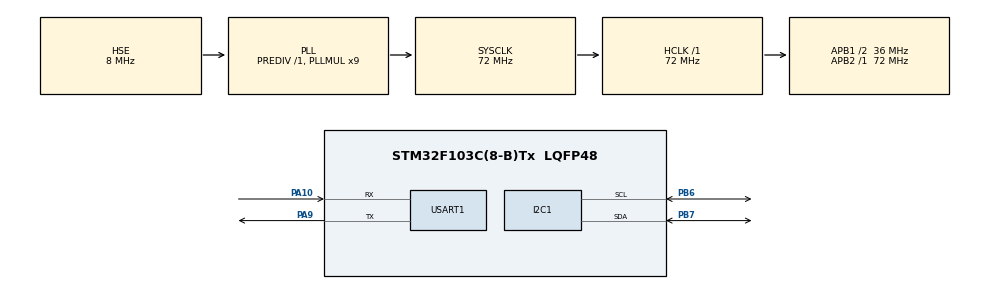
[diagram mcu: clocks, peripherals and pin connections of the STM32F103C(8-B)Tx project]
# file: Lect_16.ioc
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Mcu.Family=STM32F1
Mcu.Name=STM32F103C(8-B)Tx
Mcu.Package=LQFP48
NVIC.PriorityGroup=NVIC_PRIORITYGROUP_4
PA10.Mode=Asynchronous
PA10.Signal=USART1_RX
PA13.Mode=Serial_Wire
PA13.Signal=SYS_JTMS-SWDIO
PA14.Mode=Serial_Wire
PA14.Signal=SYS_JTCK-SWCLK
PA9.Mode=Asynchronous
PA9.Signal=USART1_TX
PB6.Mode=I2C
PB6.Signal=I2C1_SCL
PB7.Mode=I2C
PB7.Signal=I2C1_SDA
PD0-OSC_IN.Mode=HSE-External-Oscillator
PD0-OSC_IN.Signal=RCC_OSC_IN
PD1-OSC_OUT.Mode=HSE-External-Oscillator
PD1-OSC_OUT.Signal=RCC_OSC_OUT
ProjectManager.HeapSize=0x200
ProjectManager.StackSize=0x400
ProjectManager.TargetToolchain=STM32CubeIDE
RCC.AHBFreq_Value=72000000
RCC.APB1CLKDivider=RCC_HCLK_DIV2
RCC.APB1Freq_Value=36000000
RCC.APB1TimFreq_Value=72000000
RCC.APB2Freq_Value=72000000
RCC.APB2TimFreq_Value=72000000
RCC.HCLKFreq_Value=72000000
RCC.PLLMUL=RCC_PLL_MUL9
RCC.PLLSourceVirtual=RCC_PLLSOURCE_HSE
RCC.SYSCLKFreq_VALUE=72000000
RCC.SYSCLKSource=RCC_SYSCLKSOURCE_PLLCLK
RCC.USBFreq_Value=72000000
USART1.VirtualMode=VM_ASYNC
board=custom

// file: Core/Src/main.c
/* USER CODE BEGIN Header */
/**
 ******************************************************************************
 * @file           : main.c
 * @brief          : Main program body
 ******************************************************************************
 * @attention
 *
 * Copyright (c) 2024 STMicroelectronics.
 * All rights reserved.
 *
 * This software is licensed under terms that can be found in the LICENSE file
 * in the root directory of this software component.
 * If no LICENSE file comes with this software, it is provided AS-IS.
 *
 ******************************************************************************
 */
/* USER CODE END Header */
#include "main.h"

/* USER CODE BEGIN Includes */
#include "../../Drivers/Device_Drivers/DS1307.h"
#include <stdio.h>
/* USER CODE END Includes */

I2C_HandleTypeDef hi2c1;

UART_HandleTypeDef huart1;

/* USER CODE BEGIN PV */
DS1307_t Clock;
/* USER CODE END PV */

void SystemClock_Config(void);
static void MX_GPIO_Init(void);
static void MX_I2C1_Init(void);
static void MX_USART1_UART_Init(void);

int main(void)
{

	/* MCU Configuration--------------------------------------------------------*/

	/* Reset of all peripherals, Initializes the Flash interface and the Systick. */
	HAL_Init();

	/* Configure the system clock */
	SystemClock_Config();

	/* Initialize all configured peripherals */
	MX_GPIO_Init();
	MX_I2C1_Init();
	MX_USART1_UART_Init();
	/* USER CODE BEGIN 2 */
	uint8_t num[64];
	DS1307_Init(&Clock, &hi2c1);
	/* USER CODE END 2 */

	/* Infinite loop */
	/* USER CODE BEGIN WHILE */
	while (1)
	{
		DS1307_Stat_t L = DS1307_GetClock(&Clock);
		if (Clock.ClockHold)
		{
			Clock.ClockHold = 0;
			L = DS1307_SetClock(&Clock);
			HAL_UART_Transmit(&huart1, (uint8_t*) "Starting Clock..\r\n", 18, 100);

		}
		int len = sprintf((char*) num, "Clock:%s %02d:%02d:%02d Day %02d %02d/%02d/%04d\r\n",
					L == DS1307_OK?"OK ":"NOK",
					Clock.Hours, Clock.Minutes, Clock.Seconds,
					Clock.DayOfWeek, Clock.DayOfMonth, Clock.Month, Clock.Year);
		HAL_UART_Transmit(&huart1, num, len, 200);
		HAL_Delay(500);
		/* USER CODE END WHILE */

	}
}

void SystemClock_Config(void)
{
	RCC_OscInitTypeDef RCC_OscInitStruct =
	{ 0 };
	RCC_ClkInitTypeDef RCC_ClkInitStruct =
	{ 0 };

	/** Initializes the RCC Oscillators according to the specified parameters
	 * in the RCC_OscInitTypeDef structure.
	 */
	RCC_OscInitStruct.OscillatorType = RCC_OSCILLATORTYPE_HSE;
	RCC_OscInitStruct.HSEState = RCC_HSE_ON;
	RCC_OscInitStruct.HSEPredivValue = RCC_HSE_PREDIV_DIV1;
	RCC_OscInitStruct.HSIState = RCC_HSI_ON;
	RCC_OscInitStruct.PLL.PLLState = RCC_PLL_ON;
	RCC_OscInitStruct.PLL.PLLSource = RCC_PLLSOURCE_HSE;
	RCC_OscInitStruct.PLL.PLLMUL = RCC_PLL_MUL9;
	if (HAL_RCC_OscConfig(&RCC_OscInitStruct) != HAL_OK)
	{
		Error_Handler();
	}

	/** Initializes the CPU, AHB and APB buses clocks
	 */
	RCC_ClkInitStruct.ClockType = RCC_CLOCKTYPE_HCLK | RCC_CLOCKTYPE_SYSCLK | RCC_CLOCKTYPE_PCLK1 | RCC_CLOCKTYPE_PCLK2;
	RCC_ClkInitStruct.SYSCLKSource = RCC_SYSCLKSOURCE_PLLCLK;
	RCC_ClkInitStruct.AHBCLKDivider = RCC_SYSCLK_DIV1;
	RCC_ClkInitStruct.APB1CLKDivider = RCC_HCLK_DIV2;
	RCC_ClkInitStruct.APB2CLKDivider = RCC_HCLK_DIV1;

	if (HAL_RCC_ClockConfig(&RCC_ClkInitStruct, FLASH_LATENCY_2) != HAL_OK)
	{
		Error_Handler();
	}
}

static void MX_I2C1_Init(void)
{

	hi2c1.Instance = I2C1;
	hi2c1.Init.ClockSpeed = 100000;
	hi2c1.Init.DutyCycle = I2C_DUTYCYCLE_2;
	hi2c1.Init.OwnAddress1 = 0;
	hi2c1.Init.AddressingMode = I2C_ADDRESSINGMODE_7BIT;
	hi2c1.Init.DualAddressMode = I2C_DUALADDRESS_DISABLE;
	hi2c1.Init.OwnAddress2 = 0;
	hi2c1.Init.GeneralCallMode = I2C_GENERALCALL_DISABLE;
	hi2c1.Init.NoStretchMode = I2C_NOSTRETCH_DISABLE;
	if (HAL_I2C_Init(&hi2c1) != HAL_OK)
	{
		Error_Handler();
	}

}

static void MX_USART1_UART_Init(void)
{

	huart1.Instance = USART1;
	huart1.Init.BaudRate = 115200;
	huart1.Init.WordLength = UART_WORDLENGTH_8B;
	huart1.Init.StopBits = UART_STOPBITS_1;
	huart1.Init.Parity = UART_PARITY_NONE;
	huart1.Init.Mode = UART_MODE_TX_RX;
	huart1.Init.HwFlowCtl = UART_HWCONTROL_NONE;
	huart1.Init.OverSampling = UART_OVERSAMPLING_16;
	if (HAL_UART_Init(&huart1) != HAL_OK)
	{
		Error_Handler();
	}

}

static void MX_GPIO_Init(void)
{

	/* GPIO Ports Clock Enable */
	__HAL_RCC_GPIOD_CLK_ENABLE();
	__HAL_RCC_GPIOA_CLK_ENABLE();
	__HAL_RCC_GPIOB_CLK_ENABLE();

}

void Error_Handler(void)
{
	__disable_irq();
	while (1)
	{
	}
}
